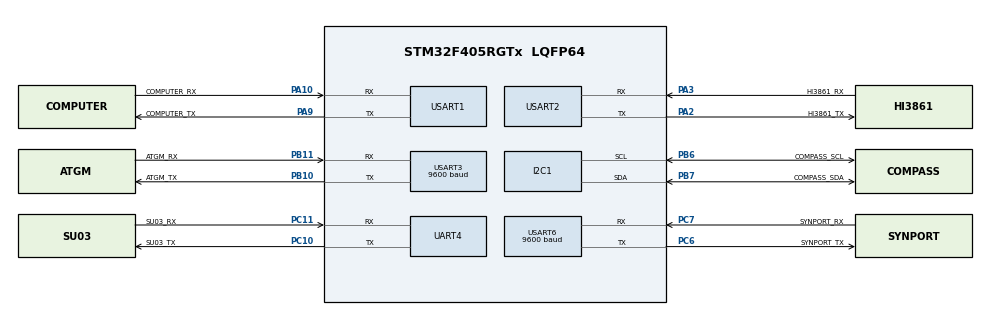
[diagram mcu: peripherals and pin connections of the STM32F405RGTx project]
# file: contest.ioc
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FREERTOS.Tasks01=defaultTask,24,128,StartDefaultTask,Default,NULL,Dynamic,NULL,NULL
Mcu.Family=STM32F4
Mcu.Name=STM32F405RGTx
Mcu.Package=LQFP64
NVIC.PriorityGroup=NVIC_PRIORITYGROUP_4
NVIC.TIM1_UP_TIM10_IRQn=true\:15\:0\:false\:false\:true\:false\:false\:true\:true
NVIC.TimeBase=TIM1_UP_TIM10_IRQn
NVIC.TimeBaseIP=TIM1
NVIC.UART4_IRQn=true\:5\:0\:false\:false\:true\:true\:true\:true\:true
NVIC.USART2_IRQn=true\:5\:0\:false\:false\:true\:true\:true\:true\:true
NVIC.USART3_IRQn=true\:5\:0\:false\:false\:true\:true\:true\:true\:true
NVIC.USART6_IRQn=true\:5\:0\:false\:false\:true\:true\:true\:true\:true
PA10.GPIO_Label=COMPUTER_RX
PA10.Mode=Asynchronous
PA10.Signal=USART1_RX
PA2.GPIO_Label=HI3861_TX
PA2.Mode=Asynchronous
PA2.Signal=USART2_TX
PA3.GPIO_Label=HI3861_RX
PA3.Mode=Asynchronous
PA3.Signal=USART2_RX
PA9.GPIO_Label=COMPUTER_TX
PA9.Mode=Asynchronous
PA9.Signal=USART1_TX
PB10.GPIO_Label=ATGM_TX
PB10.Mode=Asynchronous
PB10.Signal=USART3_TX
PB11.GPIO_Label=ATGM_RX
PB11.Mode=Asynchronous
PB11.Signal=USART3_RX
PB6.GPIO_Label=COMPASS_SCL
PB6.Mode=I2C
PB6.Signal=I2C1_SCL
PB7.GPIO_Label=COMPASS_SDA
PB7.Mode=I2C
PB7.Signal=I2C1_SDA
PC10.GPIO_Label=SU03_TX
PC10.Mode=Asynchronous
PC10.Signal=UART4_TX
PC11.GPIO_Label=SU03_RX
PC11.Mode=Asynchronous
PC11.Signal=UART4_RX
PC14-OSC32_IN.Mode=LSE-External-Oscillator
PC14-OSC32_IN.Signal=RCC_OSC32_IN
PC15-OSC32_OUT.Mode=LSE-External-Oscillator
PC15-OSC32_OUT.Signal=RCC_OSC32_OUT
PC6.GPIO_Label=SYNPORT_TX
PC6.Mode=Asynchronous
PC6.Signal=USART6_TX
PC7.GPIO_Label=SYNPORT_RX
PC7.Mode=Asynchronous
PC7.Signal=USART6_RX
PH0-OSC_IN.Mode=HSE-External-Oscillator
PH0-OSC_IN.Signal=RCC_OSC_IN
PH1-OSC_OUT.Mode=HSE-External-Oscillator
PH1-OSC_OUT.Signal=RCC_OSC_OUT
ProjectManager.HeapSize=0x200
ProjectManager.StackSize=0x400
ProjectManager.TargetToolchain=MDK-ARM V5.32
RCC.AHBFreq_Value=96000000
RCC.APB1CLKDivider=RCC_HCLK_DIV4
RCC.APB1Freq_Value=24000000
RCC.APB1TimFreq_Value=48000000
RCC.APB2CLKDivider=RCC_HCLK_DIV4
RCC.APB2Freq_Value=24000000
RCC.APB2TimFreq_Value=48000000
RCC.CortexFreq_Value=96000000
RCC.HCLKFreq_Value=96000000
RCC.HSE_VALUE=16000000
RCC.HSI_VALUE=16000000
RCC.PLLSourceVirtual=RCC_PLLSOURCE_HSE
RCC.SYSCLKFreq_VALUE=96000000
RCC.SYSCLKSource=RCC_SYSCLKSOURCE_PLLCLK
RCC.VCOOutputFreq_Value=192000000
UART4.VirtualMode=Asynchronous
USART1.VirtualMode=VM_ASYNC
USART2.VirtualMode=VM_ASYNC
USART3.BaudRate=9600
USART3.VirtualMode=VM_ASYNC
USART6.BaudRate=9600
USART6.VirtualMode=VM_ASYNC
VP_FREERTOS_VS_CMSIS_V2.Mode=CMSIS_V2
VP_SYS_VS_tim1.Mode=TIM1
board=custom

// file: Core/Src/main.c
/* USER CODE BEGIN Header */
/**
  ******************************************************************************
  * @file           : main.c
  * @brief          : Main program body
  ******************************************************************************
  * @attention
  *
  * Copyright (c) 2024 STMicroelectronics.
  * All rights reserved.
  *
  * This software is licensed under terms that can be found in the LICENSE file
  * in the root directory of this software component.
  * If no LICENSE file comes with this software, it is provided AS-IS.
  *
  ******************************************************************************
  */
/* USER CODE END Header */
#include "main.h"
#include "cmsis_os.h"

/* USER CODE BEGIN Includes */
#include "atgm.h"
#include <stdio.h>
#include "util.h"
#include "audio.h"
#include "hi3861.h"
#include "syn6288.h"
#include "qmc5883.h"
/* USER CODE END Includes */

/* Definitions for defaultTask */
/* USER CODE BEGIN PV */
extern nmea_t atgm;
osThreadId_t maintask;
audio_t su03_audio;
hi3861_t hi;
syn_t syn;
qmc_t qmc;
float latitude = 32.061446, longitute = 118.667597, altitude = 0;
char syn_test[] = "从起点向西北方向出发";
char ucs2_test[100];
/* USER CODE END PV */

void SystemClock_Config(void);
static void MX_GPIO_Init(void);
static void MX_I2C1_Init(void);
static void MX_UART4_Init(void);
static void MX_USART1_UART_Init(void);
static void MX_USART2_UART_Init(void);
static void MX_USART3_UART_Init(void);
static void MX_USART6_UART_Init(void);
void StartDefaultTask(void *argument);

/* USER CODE BEGIN 0 */
static void main_task_entry(void* args){
  nmea_available_reset(&atgm);
  syn6288_send(&syn, syn_test, sizeof(syn_test));
  while(1){
    // qmc_get_angle(&qmc);
    // printf("%d,%d,%d\r\n", qmc.x, qmc.y, qmc.z);
    // qmc_get_temperature(&qmc);
    // printf("temperature:%d\r\n", qmc.temp);
    bool ok = nmea_available(&atgm);
    printf("syn stat:%x\r\n", syn.state);
    if(ok){
      printf("atgm is ready\n\r");
      log_nmea_buf(&atgm);
    }
    else{
      printf("atgm is not ready\n\r");
      log_nmea_buf(&atgm);
      osDelay(1000/portTICK_PERIOD_MS);
      continue;
    }
    float lal, lng;
		printf("lal:%.7f,lon:%.7f\r\n", latitude, longitute);
    nmea_gnss_latitude_deg(&atgm, &lal);
    nmea_gnss_longitude_deg(&atgm, &lng);
    if(lal>10 && lal<90 && lng>10 && lng<180){
      latitude = lal;
      longitute = lng;
    }
    hi3861_send_pos(&hi, latitude, longitute, altitude);
    nmea_available_reset(&atgm);
    osDelay(1000/portTICK_PERIOD_MS);
  }
}

int fputc(int ch,FILE *f){
  uint8_t temp[1]={ch};
  LL_USART_TransmitData8(USART1,temp[0]);
  while(!LL_USART_IsActiveFlag_TXE(USART1));
  //HAL_UART_Transmit(&huart1,temp,1,2);
  return(ch);
}

/* USER CODE END 0 */

int main(void)
{

  /* MCU Configuration--------------------------------------------------------*/

  /* Reset of all peripherals, Initializes the Flash interface and the Systick. */
  HAL_Init();

  /* Configure the system clock */
  SystemClock_Config();

  /* Initialize all configured peripherals */
  MX_GPIO_Init();
  MX_I2C1_Init();
  MX_UART4_Init();
  MX_USART1_UART_Init();
  MX_USART2_UART_Init();
  MX_USART3_UART_Init();
  MX_USART6_UART_Init();
  /* USER CODE BEGIN 2 */
  const osThreadAttr_t maintask_attr = {
    .name = "maintask",
    .stack_size = 4096,
    .priority = (osPriority_t) osPriorityNormal,
  };
  /* USER CODE END 2 */

  /* Init scheduler */
  osKernelInitialize();

  /* Create the thread(s) */
  /* creation of defaultTask */

  /* USER CODE BEGIN RTOS_THREADS */
  maintask = osThreadNew(main_task_entry, NULL, &maintask_attr);
  atgm_init(USART3);
  audio_init(&su03_audio, UART4);
  hi3861_init(&hi, USART2, 5);
  syn_init(&syn, USART6, 5);
  qmc_init(I2C1, &qmc);
  /* add threads, ... */
  /* USER CODE END RTOS_THREADS */

  /* Start scheduler */
  osKernelStart();

  /* We should never get here as control is now taken by the scheduler */

  /* Infinite loop */
  while (1)
  {

  }
}

void SystemClock_Config(void)
{
  LL_FLASH_SetLatency(LL_FLASH_LATENCY_3);
  while(LL_FLASH_GetLatency()!= LL_FLASH_LATENCY_3)
  {
  }
  LL_PWR_SetRegulVoltageScaling(LL_PWR_REGU_VOLTAGE_SCALE1);
  LL_RCC_HSE_Enable();

   /* Wait till HSE is ready */
  while(LL_RCC_HSE_IsReady() != 1)
  {

  }
  LL_RCC_PLL_ConfigDomain_SYS(LL_RCC_PLLSOURCE_HSE, LL_RCC_PLLM_DIV_16, 192, LL_RCC_PLLP_DIV_2);
  LL_RCC_PLL_Enable();

   /* Wait till PLL is ready */
  while(LL_RCC_PLL_IsReady() != 1)
  {

  }
  while (LL_PWR_IsActiveFlag_VOS() == 0)
  {
  }
  LL_RCC_SetAHBPrescaler(LL_RCC_SYSCLK_DIV_1);
  LL_RCC_SetAPB1Prescaler(LL_RCC_APB1_DIV_4);
  LL_RCC_SetAPB2Prescaler(LL_RCC_APB2_DIV_4);
  LL_RCC_SetSysClkSource(LL_RCC_SYS_CLKSOURCE_PLL);

   /* Wait till System clock is ready */
  while(LL_RCC_GetSysClkSource() != LL_RCC_SYS_CLKSOURCE_STATUS_PLL)
  {

  }
  LL_SetSystemCoreClock(96000000);

   /* Update the time base */
  if (HAL_InitTick (TICK_INT_PRIORITY) != HAL_OK)
  {
    Error_Handler();
  }
}

static void MX_I2C1_Init(void)
{

  LL_I2C_InitTypeDef I2C_InitStruct = {0};

  LL_GPIO_InitTypeDef GPIO_InitStruct = {0};

  LL_AHB1_GRP1_EnableClock(LL_AHB1_GRP1_PERIPH_GPIOB);
  /**I2C1 GPIO Configuration
  PB6   ------> I2C1_SCL
  PB7   ------> I2C1_SDA
  */
  GPIO_InitStruct.Pin = COMPASS_SCL_Pin|COMPASS_SDA_Pin;
  GPIO_InitStruct.Mode = LL_GPIO_MODE_ALTERNATE;
  GPIO_InitStruct.Speed = LL_GPIO_SPEED_FREQ_VERY_HIGH;
  GPIO_InitStruct.OutputType = LL_GPIO_OUTPUT_OPENDRAIN;
  GPIO_InitStruct.Pull = LL_GPIO_PULL_NO;
  GPIO_InitStruct.Alternate = LL_GPIO_AF_4;
  LL_GPIO_Init(GPIOB, &GPIO_InitStruct);

  /* Peripheral clock enable */
  LL_APB1_GRP1_EnableClock(LL_APB1_GRP1_PERIPH_I2C1);

  /** I2C Initialization
  */
  LL_I2C_DisableOwnAddress2(I2C1);
  LL_I2C_DisableGeneralCall(I2C1);
  LL_I2C_EnableClockStretching(I2C1);
  I2C_InitStruct.PeripheralMode = LL_I2C_MODE_I2C;
  I2C_InitStruct.ClockSpeed = 100000;
  I2C_InitStruct.DutyCycle = LL_I2C_DUTYCYCLE_2;
  I2C_InitStruct.OwnAddress1 = 0;
  I2C_InitStruct.TypeAcknowledge = LL_I2C_ACK;
  I2C_InitStruct.OwnAddrSize = LL_I2C_OWNADDRESS1_7BIT;
  LL_I2C_Init(I2C1, &I2C_InitStruct);
  LL_I2C_SetOwnAddress2(I2C1, 0);

}

static void MX_UART4_Init(void)
{

  LL_USART_InitTypeDef USART_InitStruct = {0};

  LL_GPIO_InitTypeDef GPIO_InitStruct = {0};

  /* Peripheral clock enable */
  LL_APB1_GRP1_EnableClock(LL_APB1_GRP1_PERIPH_UART4);

  LL_AHB1_GRP1_EnableClock(LL_AHB1_GRP1_PERIPH_GPIOC);
  /**UART4 GPIO Configuration
  PC10   ------> UART4_TX
  PC11   ------> UART4_RX
  */
  GPIO_InitStruct.Pin = SU03_TX_Pin|SU03_RX_Pin;
  GPIO_InitStruct.Mode = LL_GPIO_MODE_ALTERNATE;
  GPIO_InitStruct.Speed = LL_GPIO_SPEED_FREQ_VERY_HIGH;
  GPIO_InitStruct.OutputType = LL_GPIO_OUTPUT_PUSHPULL;
  GPIO_InitStruct.Pull = LL_GPIO_PULL_NO;
  GPIO_InitStruct.Alternate = LL_GPIO_AF_8;
  LL_GPIO_Init(GPIOC, &GPIO_InitStruct);

  /* UART4 interrupt Init */
  NVIC_SetPriority(UART4_IRQn, NVIC_EncodePriority(NVIC_GetPriorityGrouping(),5, 0));
  NVIC_EnableIRQ(UART4_IRQn);

  USART_InitStruct.BaudRate = 115200;
  USART_InitStruct.DataWidth = LL_USART_DATAWIDTH_8B;
  USART_InitStruct.StopBits = LL_USART_STOPBITS_1;
  USART_InitStruct.Parity = LL_USART_PARITY_NONE;
  USART_InitStruct.TransferDirection = LL_USART_DIRECTION_TX_RX;
  USART_InitStruct.HardwareFlowControl = LL_USART_HWCONTROL_NONE;
  USART_InitStruct.OverSampling = LL_USART_OVERSAMPLING_16;
  LL_USART_Init(UART4, &USART_InitStruct);
  LL_USART_ConfigAsyncMode(UART4);
  LL_USART_Enable(UART4);

}

static void MX_USART1_UART_Init(void)
{

  LL_USART_InitTypeDef USART_InitStruct = {0};

  LL_GPIO_InitTypeDef GPIO_InitStruct = {0};

  /* Peripheral clock enable */
  LL_APB2_GRP1_EnableClock(LL_APB2_GRP1_PERIPH_USART1);

  LL_AHB1_GRP1_EnableClock(LL_AHB1_GRP1_PERIPH_GPIOA);
  /**USART1 GPIO Configuration
  PA9   ------> USART1_TX
  PA10   ------> USART1_RX
  */
  GPIO_InitStruct.Pin = COMPUTER_TX_Pin|COMPUTER_RX_Pin;
  GPIO_InitStruct.Mode = LL_GPIO_MODE_ALTERNATE;
  GPIO_InitStruct.Speed = LL_GPIO_SPEED_FREQ_VERY_HIGH;
  GPIO_InitStruct.OutputType = LL_GPIO_OUTPUT_PUSHPULL;
  GPIO_InitStruct.Pull = LL_GPIO_PULL_NO;
  GPIO_InitStruct.Alternate = LL_GPIO_AF_7;
  LL_GPIO_Init(GPIOA, &GPIO_InitStruct);

  USART_InitStruct.BaudRate = 115200;
  USART_InitStruct.DataWidth = LL_USART_DATAWIDTH_8B;
  USART_InitStruct.StopBits = LL_USART_STOPBITS_1;
  USART_InitStruct.Parity = LL_USART_PARITY_NONE;
  USART_InitStruct.TransferDirection = LL_USART_DIRECTION_TX_RX;
  USART_InitStruct.HardwareFlowControl = LL_USART_HWCONTROL_NONE;
  USART_InitStruct.OverSampling = LL_USART_OVERSAMPLING_16;
  LL_USART_Init(USART1, &USART_InitStruct);
  LL_USART_ConfigAsyncMode(USART1);
  LL_USART_Enable(USART1);

}

static void MX_USART2_UART_Init(void)
{

  LL_USART_InitTypeDef USART_InitStruct = {0};

  LL_GPIO_InitTypeDef GPIO_InitStruct = {0};

  /* Peripheral clock enable */
  LL_APB1_GRP1_EnableClock(LL_APB1_GRP1_PERIPH_USART2);

  LL_AHB1_GRP1_EnableClock(LL_AHB1_GRP1_PERIPH_GPIOA);
  /**USART2 GPIO Configuration
  PA2   ------> USART2_TX
  PA3   ------> USART2_RX
  */
  GPIO_InitStruct.Pin = HI3861_TX_Pin|HI3861_RX_Pin;
  GPIO_InitStruct.Mode = LL_GPIO_MODE_ALTERNATE;
  GPIO_InitStruct.Speed = LL_GPIO_SPEED_FREQ_VERY_HIGH;
  GPIO_InitStruct.OutputType = LL_GPIO_OUTPUT_PUSHPULL;
  GPIO_InitStruct.Pull = LL_GPIO_PULL_NO;
  GPIO_InitStruct.Alternate = LL_GPIO_AF_7;
  LL_GPIO_Init(GPIOA, &GPIO_InitStruct);

  /* USART2 interrupt Init */
  NVIC_SetPriority(USART2_IRQn, NVIC_EncodePriority(NVIC_GetPriorityGrouping(),5, 0));
  NVIC_EnableIRQ(USART2_IRQn);

  USART_InitStruct.BaudRate = 115200;
  USART_InitStruct.DataWidth = LL_USART_DATAWIDTH_8B;
  USART_InitStruct.StopBits = LL_USART_STOPBITS_1;
  USART_InitStruct.Parity = LL_USART_PARITY_NONE;
  USART_InitStruct.TransferDirection = LL_USART_DIRECTION_TX_RX;
  USART_InitStruct.HardwareFlowControl = LL_USART_HWCONTROL_NONE;
  USART_InitStruct.OverSampling = LL_USART_OVERSAMPLING_16;
  LL_USART_Init(USART2, &USART_InitStruct);
  LL_USART_ConfigAsyncMode(USART2);
  LL_USART_Enable(USART2);

}

static void MX_USART3_UART_Init(void)
{

  LL_USART_InitTypeDef USART_InitStruct = {0};

  LL_GPIO_InitTypeDef GPIO_InitStruct = {0};

  /* Peripheral clock enable */
  LL_APB1_GRP1_EnableClock(LL_APB1_GRP1_PERIPH_USART3);

  LL_AHB1_GRP1_EnableClock(LL_AHB1_GRP1_PERIPH_GPIOB);
  /**USART3 GPIO Configuration
  PB10   ------> USART3_TX
  PB11   ------> USART3_RX
  */
  GPIO_InitStruct.Pin = ATGM_TX_Pin|ATGM_RX_Pin;
  GPIO_InitStruct.Mode = LL_GPIO_MODE_ALTERNATE;
  GPIO_InitStruct.Speed = LL_GPIO_SPEED_FREQ_VERY_HIGH;
  GPIO_InitStruct.OutputType = LL_GPIO_OUTPUT_PUSHPULL;
  GPIO_InitStruct.Pull = LL_GPIO_PULL_NO;
  GPIO_InitStruct.Alternate = LL_GPIO_AF_7;
  LL_GPIO_Init(GPIOB, &GPIO_InitStruct);

  /* USART3 interrupt Init */
  NVIC_SetPriority(USART3_IRQn, NVIC_EncodePriority(NVIC_GetPriorityGrouping(),5, 0));
  NVIC_EnableIRQ(USART3_IRQn);

  USART_InitStruct.BaudRate = 9600;
  USART_InitStruct.DataWidth = LL_USART_DATAWIDTH_8B;
  USART_InitStruct.StopBits = LL_USART_STOPBITS_1;
  USART_InitStruct.Parity = LL_USART_PARITY_NONE;
  USART_InitStruct.TransferDirection = LL_USART_DIRECTION_TX_RX;
  USART_InitStruct.HardwareFlowControl = LL_USART_HWCONTROL_NONE;
  USART_InitStruct.OverSampling = LL_USART_OVERSAMPLING_16;
  LL_USART_Init(USART3, &USART_InitStruct);
  LL_USART_ConfigAsyncMode(USART3);
  LL_USART_Enable(USART3);

}

static void MX_USART6_UART_Init(void)
{

  LL_USART_InitTypeDef USART_InitStruct = {0};

  LL_GPIO_InitTypeDef GPIO_InitStruct = {0};

  /* Peripheral clock enable */
  LL_APB2_GRP1_EnableClock(LL_APB2_GRP1_PERIPH_USART6);

  LL_AHB1_GRP1_EnableClock(LL_AHB1_GRP1_PERIPH_GPIOC);
  /**USART6 GPIO Configuration
  PC6   ------> USART6_TX
  PC7   ------> USART6_RX
  */
  GPIO_InitStruct.Pin = SYNPORT_TX_Pin|SYNPORT_RX_Pin;
  GPIO_InitStruct.Mode = LL_GPIO_MODE_ALTERNATE;
  GPIO_InitStruct.Speed = LL_GPIO_SPEED_FREQ_VERY_HIGH;
  GPIO_InitStruct.OutputType = LL_GPIO_OUTPUT_PUSHPULL;
  GPIO_InitStruct.Pull = LL_GPIO_PULL_NO;
  GPIO_InitStruct.Alternate = LL_GPIO_AF_8;
  LL_GPIO_Init(GPIOC, &GPIO_InitStruct);

  /* USART6 interrupt Init */
  NVIC_SetPriority(USART6_IRQn, NVIC_EncodePriority(NVIC_GetPriorityGrouping(),5, 0));
  NVIC_EnableIRQ(USART6_IRQn);

  USART_InitStruct.BaudRate = 9600;
  USART_InitStruct.DataWidth = LL_USART_DATAWIDTH_8B;
  USART_InitStruct.StopBits = LL_USART_STOPBITS_1;
  USART_InitStruct.Parity = LL_USART_PARITY_NONE;
  USART_InitStruct.TransferDirection = LL_USART_DIRECTION_TX_RX;
  USART_InitStruct.HardwareFlowControl = LL_USART_HWCONTROL_NONE;
  USART_InitStruct.OverSampling = LL_USART_OVERSAMPLING_16;
  LL_USART_Init(USART6, &USART_InitStruct);
  LL_USART_ConfigAsyncMode(USART6);
  LL_USART_Enable(USART6);

}

static void MX_GPIO_Init(void)
{

  /* GPIO Ports Clock Enable */
  LL_AHB1_GRP1_EnableClock(LL_AHB1_GRP1_PERIPH_GPIOC);
  LL_AHB1_GRP1_EnableClock(LL_AHB1_GRP1_PERIPH_GPIOH);
  LL_AHB1_GRP1_EnableClock(LL_AHB1_GRP1_PERIPH_GPIOA);
  LL_AHB1_GRP1_EnableClock(LL_AHB1_GRP1_PERIPH_GPIOB);

}

void StartDefaultTask(void *argument)
{
  for(;;)
  {
    osDelay(1);
  }
}

void HAL_TIM_PeriodElapsedCallback(TIM_HandleTypeDef *htim)
{
  if (htim->Instance == TIM1) {
    HAL_IncTick();
  }
}

void Error_Handler(void)
{
  __disable_irq();
  while (1)
  {
  }
}
